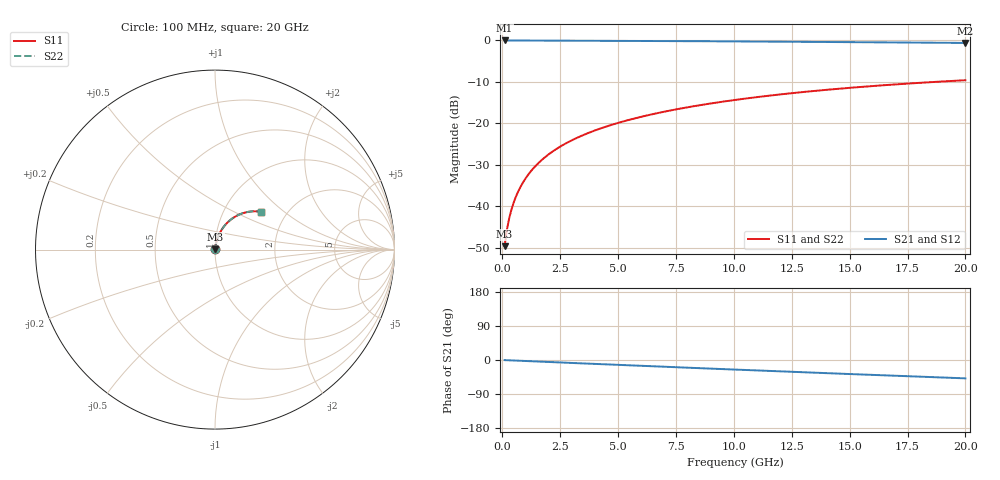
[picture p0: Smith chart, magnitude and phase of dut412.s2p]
! Touchstone file exported from HFSS 2026.1.0
!  File:  C:/ffzhzh/LocalFiles/Ansys_Project_Files/temp_train_TMRDL_412_1783005124_55676.aedt
!  Generated:  11:13:37 PM Jul  2, 2026
!  Design:  TMRDL
!  Project:  temp_train_TMRDL_412_1783005124_55676
! Variables:
!  h_bsmrdl = 2um
!  h_ox = 20um
!  h_rdl = 5um
!  h_sub = 80um
!  h_tmrdl = 5.58um
!  h_tsv = 80um
!  h_via = 3um
!  l_bsmrdl = 300um
!  l_sub = 1188.45um
!  l_tmrdl = 788.45um
!  m_sub = 200um
!  pitch = 44.1um
!  r_tsv = 6um
!  s_tmrdl = 10um
!  w_bsmrdl = 18um
!  w_sub = 500um
!  w_tmrdl = 24.13um
!  x_tsv_center1 = 800.515um
!  x_tsv_center2 = 1118.515um
!  x_tsv_center3 = 1931.095um
!  x_tsv_center4 = 2249.095um
!  x_tsv_center5 = 3061.675um
!  x_tsv_center6 = 3379.675um
# GHz S MA R 50.000000
! Terminal data exported
! Port[1] = TM_RDL1_1_T1
! Port[2] = TM_RDL1_1_T2
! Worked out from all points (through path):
!   200 points, 100 MHz to 20 GHz, reference 50 ohm
!   highest |S21| = -0.02 dB at 100 MHz (marker M1); lowest = -0.6 dB at 20 GHz (marker M2)
!   group delay of S21, straight-line fit = 6.72 ps
!   lowest |S11| = -49.6 dB at 100 MHz (marker M3), VSWR 1.01, Z = 50.2 + j0.24 ohm
!   |S11| at or under -10 dB: start of sweep to 18.72 GHz
!   |S22| runs from -49.6 to -9.6 dB; largest |S21 - S12| = 5.2e-15
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0.1  0.003311 46.1  0.9977 -0.3  0.9977 -0.3  0.003311 46.1
! Gamma 0 0 0 0
! Port Impedance 50 0 50 0
0.2  0.005245 61.1  0.9975 -0.5  0.9975 -0.5  0.005245 61.1
0.3  0.007235 67.7  0.9973 -0.8  0.9973 -0.8  0.007235 67.7
0.4  0.009242 71.6  0.9972 -1.1  0.9972 -1.1  0.009242 71.6
0.5  0.01127 74.1  0.9971 -1.3  0.9971 -1.3  0.01127 74.1
0.6  0.01332 75.8  0.997 -1.6  0.997 -1.6  0.01332 75.8
0.8  0.01745 77.9  0.9969 -2.1  0.9969 -2.1  0.01745 77.9
1.1  0.02368 79.3  0.9965 -2.9  0.9965 -2.9  0.02368 79.3
1.5  0.03198 79.8  0.996 -3.9  0.996 -3.9  0.03198 79.8
1.8  0.03818 79.6  0.9955 -4.7  0.9955 -4.7  0.03818 79.6
2.1  0.04432 79.3  0.995 -5.5  0.995 -5.5  0.04432 79.3
2.7  0.05647 78.3  0.9938 -7.0  0.9938 -7.0  0.05647 78.3
3.5  0.07236 76.6  0.992 -9.1  0.992 -9.1  0.07236 76.6
4.2  0.08598 75.1  0.9902 -10.8  0.9902 -10.8  0.08598 75.1
5  0.1013 73.3  0.9881 -12.8  0.9881 -12.8  0.1013 73.3
5.9  0.1181 71.3  0.9856 -15.1  0.9856 -15.1  0.1181 71.3
6.8  0.1347 69.3  0.9829 -17.3  0.9829 -17.3  0.1347 69.3
8.3  0.1615 65.9  0.9781 -21.0  0.9781 -21.0  0.1615 65.9
10.1  0.1923 61.7  0.9717 -25.4  0.9717 -25.4  0.1923 61.7
13.4  0.2447 54.2  0.9589 -33.3  0.9589 -33.3  0.2447 54.2
16.7  0.2911 46.8  0.9452 -41.0  0.9452 -41.0  0.2911 46.8
20  0.331 39.6  0.9316 -48.4  0.9316 -48.4  0.331 39.6
